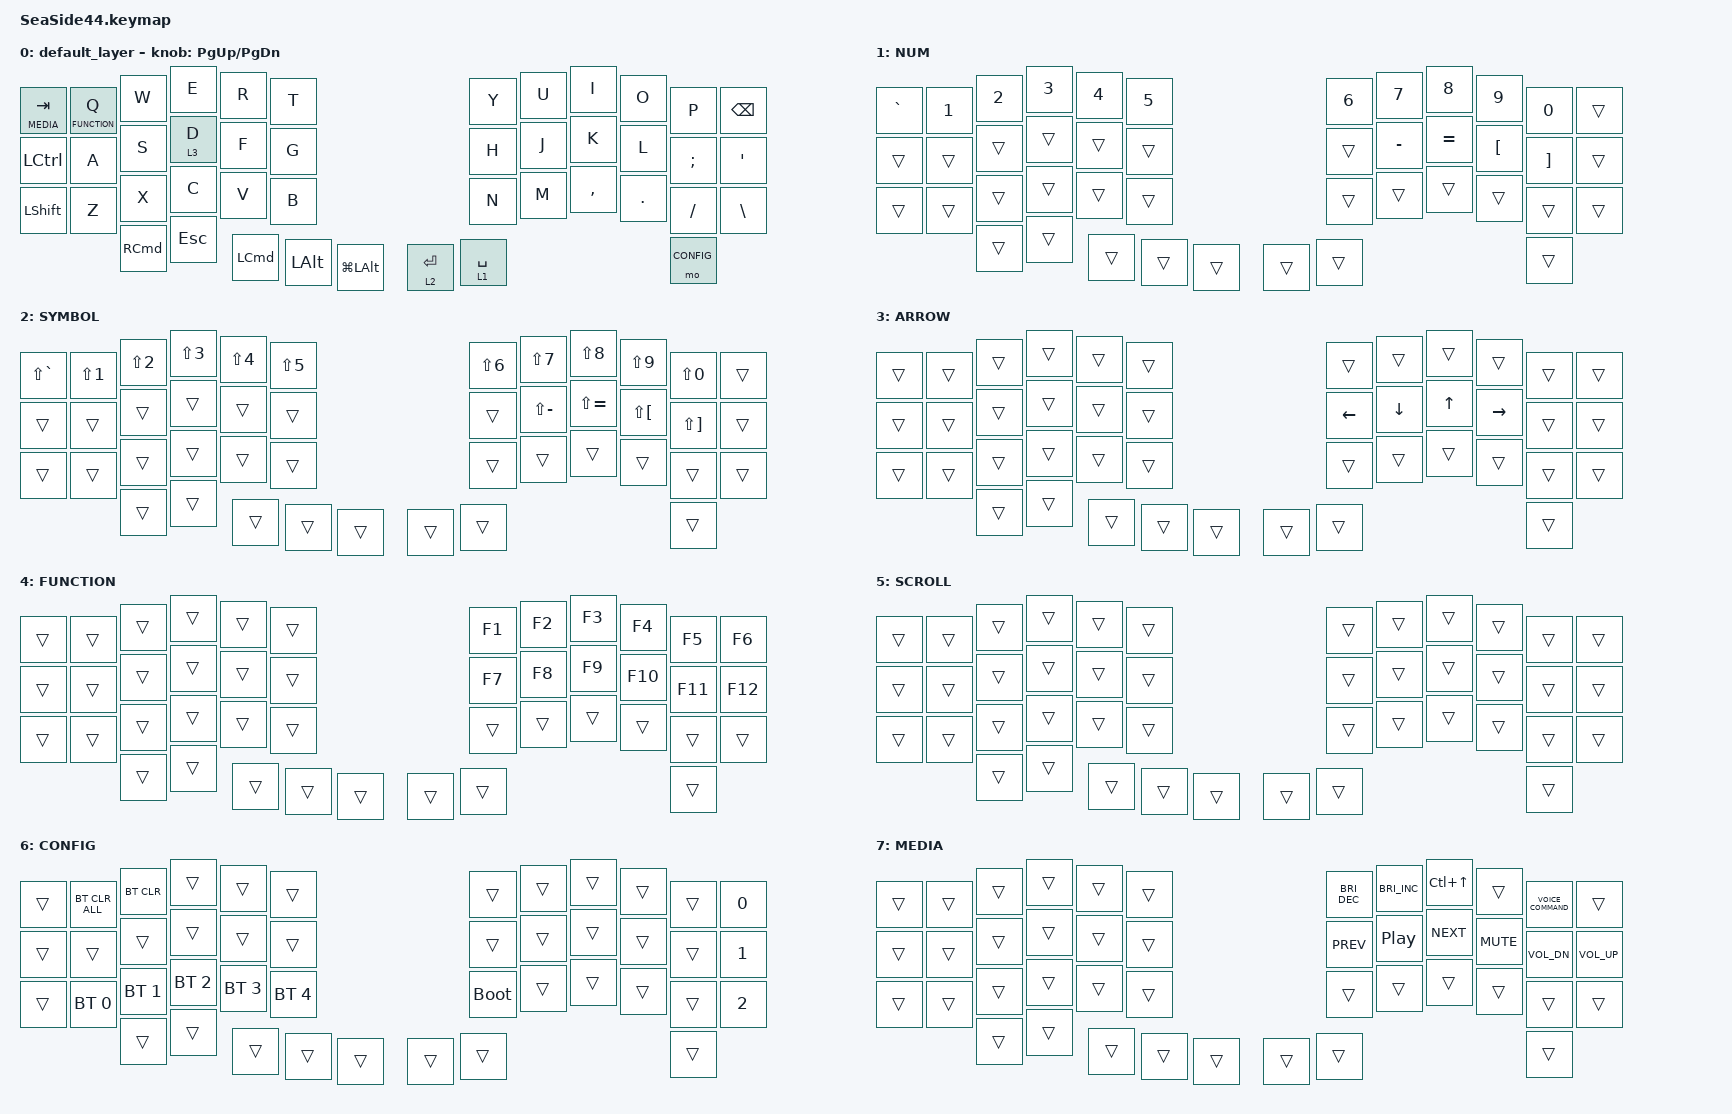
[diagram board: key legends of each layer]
#include <behaviors.dtsi>
#include <dt-bindings/zmk/bt.h>
#include <dt-bindings/zmk/keys.h>
#include <dt-bindings/zmk/pointing.h>

#define C_VOICE_COMMAND ZMK_HID_USAGE(HID_USAGE_CONSUMER, 0xCF)

#define NUM 1
#define SYMBOL 2
#define ARROW 3
#define FUNCTION 4
#define SCROLL 5
#define CONFIG 6
#define MEDIA 7

&mt {
    flavor = "balanced";
    quick-tap-ms = <300>;
};

&lt {
    flavor = "balanced";
    quick-tap-ms = <300>;
};

/ {
    combos {
        compatible = "zmk,combos";

        combo_left_click {
            timeout-ms = <40>;
            key-positions = <19 20>;
            bindings = <&mkp MB1>;
        };
        
        combo_right_click {
            timeout-ms = <40>;
            key-positions = <20 21>;
            bindings = <&mkp MB2>;
        };
        
        combo_scroll {
            timeout-ms = <50>;
            key-positions = <19 20 21>;
            bindings = <&mo SCROLL>;
        };
    };

    macros {
        to_layer_0: to_layer_0 {
            compatible = "zmk,behavior-macro-one-param";
            #binding-cells = <1>;
            bindings = <&to 0 &macro_param_1to1 &kp MACRO_PLACEHOLDER>;
            label = "TO_LAYER_0";
        };
    };

    behaviors {
        lt_to_layer_0: lt_to_layer_0 {
            compatible = "zmk,behavior-hold-tap";
            label = "LAYER_TAP_TO_0";
            bindings = <&mo>, <&to_layer_0>;

            #binding-cells = <2>;
            tapping-term-ms = <200>;
        };
    };

    keymap {
        compatible = "zmk,keymap";

        default_layer {
            bindings = <
&lt MEDIA TAB  &lt FUNCTION Q   &kp W    &kp E     &kp R     &kp T                                            &kp Y     &kp U     &kp I     &kp O      &kp P       &kp BACKSPACE
&kp LCTRL      &kp A            &kp S    &lt 3 D   &kp F     &kp G                                            &kp H     &kp J     &kp K     &kp L      &kp SEMI    &kp SQT
&kp LSHFT      &kp Z            &kp X    &kp C     &kp V     &kp B                                            &kp N     &kp M     &kp COMMA &kp PERIOD &kp SLASH   &kp BSLH
                      &kp RCMD    &kp ESC  &kp LCMD       &kp LEFT_ALT  &kp LG(LEFT_ALT)       &lt 2 ENTER  &lt 1 SPACE                             &mo CONFIG
            >;

            sensor-bindings = <&inc_dec_kp PG_UP PAGE_DOWN>;
        };
        
        NUM {
            bindings = <
                &kp GRAVE   &kp N1    &kp N2    &kp N3    &kp N4    &kp N5                                   &kp N6    &kp N7    &kp N8    &kp N9            &kp N0            &trans
                &trans      &trans    &trans    &trans    &trans    &trans                                   &trans    &kp MINUS &kp EQUAL &kp LEFT_BRACKET  &kp RIGHT_BRACKET &trans
                &trans      &trans    &trans    &trans    &trans    &trans                                   &trans    &trans    &trans    &trans            &trans            &trans
                                    &trans     &trans    &trans    &trans    &trans                    &trans    &trans                                &trans
            >;
        };

        SYMBOL {
            bindings = <
                &kp LS(GRAVE)   &kp LS(N1)   &kp LS(N2)   &kp LS(N3)   &kp LS(N4)   &kp LS(N5)               &kp LS(N6)   &kp LS(N7)   &kp LS(N8)   &kp LS(N9)   &kp LS(N0)   &trans
                &trans          &trans       &trans       &trans       &trans       &trans                   &trans       &kp LS(MINUS) &kp LS(EQUAL) &kp LS(LEFT_BRACKET) &kp LS(RIGHT_BRACKET) &trans
                &trans          &trans       &trans       &trans       &trans       &trans                   &trans       &trans        &trans        &trans        &trans        &trans
                                        &trans       &trans       &trans       &trans       &trans       &trans       &trans                                   &trans
            >;
        };

        ARROW {
            bindings = <
                &trans  &trans  &trans  &trans  &trans  &trans                     &trans     &trans     &trans     &trans      &trans  &trans
                &trans  &trans  &trans  &trans  &trans  &trans                     &kp LEFT   &kp DOWN   &kp UP     &kp RIGHT   &trans  &trans
                &trans  &trans  &trans  &trans  &trans  &trans                     &trans     &trans     &trans     &trans      &trans  &trans
                                      &trans  &trans  &trans      &trans  &trans      &trans  &trans                           &trans
            >;
        };

        FUNCTION {
            bindings = <
                &trans  &trans  &trans  &trans  &trans  &trans                                          &kp F1   &kp F2   &kp F3   &kp F4   &kp F5   &kp F6
                &trans  &trans  &trans  &trans  &trans  &trans                                          &kp F7   &kp F8   &kp F9   &kp F10  &kp F11  &kp F12
                &trans  &trans  &trans  &trans  &trans  &trans                                          &trans   &trans   &trans   &trans   &trans   &trans
                             &trans  &trans  &trans     &trans  &trans                          &trans  &trans                           &trans
            >;
        };

        SCROLL {
            bindings = <
                &trans  &trans  &trans  &trans     &trans  &trans                                        &trans  &trans  &trans  &trans  &trans  &trans
                &trans  &trans  &trans  &trans     &trans  &trans                                        &trans  &trans  &trans  &trans  &trans  &trans
                &trans  &trans  &trans  &trans     &trans  &trans                                        &trans  &trans  &trans  &trans  &trans  &trans
                                &trans  &trans     &trans  &trans  &trans                        &trans  &trans                          &trans
            >;
        };

        CONFIG {
            bindings = <
                &trans  &bt BT_CLR_ALL  &bt BT_CLR    &trans        &trans        &trans                        &trans       &trans  &trans  &trans  &trans  &kp N0
                &trans  &trans          &trans        &trans        &trans        &trans                        &trans       &trans  &trans  &trans  &trans  &kp N1
                &trans  &bt BT_SEL 0    &bt BT_SEL 1  &bt BT_SEL 2  &bt BT_SEL 3  &bt BT_SEL 4                  &bootloader  &trans  &trans  &trans  &trans  &kp N2
                        &trans        &trans        &trans        &trans        &trans  &trans  &trans                               &trans
            >;
        };

        MEDIA {
            bindings = <
                &trans  &trans  &trans  &trans  &trans  &trans                   &kp C_BRI_DEC  &kp C_BRI_INC  &kp LC(UP)   &trans      &kp C_VOICE_COMMAND &trans
                &trans  &trans  &trans  &trans  &trans  &trans                   &kp C_PREV     &kp C_PP       &kp C_NEXT   &kp C_MUTE  &kp C_VOL_DN  &kp C_VOL_UP
                &trans  &trans  &trans  &trans  &trans  &trans                   &trans         &trans         &trans       &trans      &trans        &trans
                                    &trans  &trans  &trans     &trans  &trans          &trans  &trans                                   &trans
            >;
        };
    };
};
